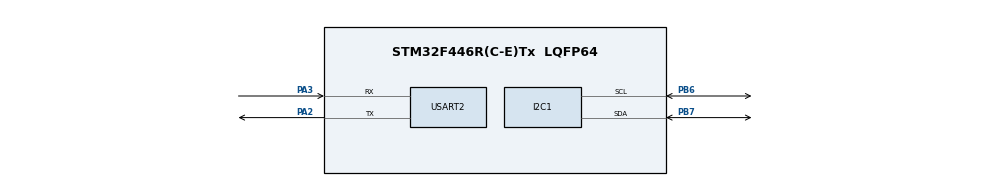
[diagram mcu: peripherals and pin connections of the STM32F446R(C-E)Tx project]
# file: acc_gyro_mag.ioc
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I2C1.I2C_Mode=I2C_Fast
Mcu.Family=STM32F4
Mcu.Name=STM32F446R(C-E)Tx
Mcu.Package=LQFP64
NVIC.PriorityGroup=NVIC_PRIORITYGROUP_4
PA13.Mode=Serial_Wire
PA13.Signal=SYS_JTMS-SWDIO
PA14.Mode=Serial_Wire
PA14.Signal=SYS_JTCK-SWCLK
PA2.Mode=Asynchronous
PA2.Signal=USART2_TX
PA3.Mode=Asynchronous
PA3.Signal=USART2_RX
PB6.Mode=I2C
PB6.Signal=I2C1_SCL
PB7.Mode=I2C
PB7.Signal=I2C1_SDA
ProjectManager.HeapSize=0x200
ProjectManager.StackSize=0x400
ProjectManager.TargetToolchain=STM32CubeIDE
RCC.CortexFreq_Value=16000000
RCC.USBFreq_Value=96000000
RCC.VCOOutputFreq_Value=192000000
USART2.VirtualMode=VM_ASYNC
board=custom

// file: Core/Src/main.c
/* USER CODE BEGIN Header */
/**
 ******************************************************************************
 * @file           : main.c
 * @brief          : Main program body
 ******************************************************************************
 * @attention
 *
 * Copyright (c) 2025 STMicroelectronics.
 * All rights reserved.
 *
 * This software is licensed under terms that can be found in the LICENSE file
 * in the root directory of this software component.
 * If no LICENSE file comes with this software, it is provided AS-IS.
 *
 ******************************************************************************
 */
/* USER CODE END Header */
#include "main.h"

/* USER CODE BEGIN Includes */
#include "math.h"
#include "stdio.h"
/* USER CODE END Includes */

/* USER CODE BEGIN PD */
#define MPU9250_ADDR 0x68 << 1  //acc gyro addr
#define MAG_ADDR 0x0C <<1 //Magnetometer I2C address
#define CONFIG_REG 0x1A
#define ACC_CTRL_REG 0x1C
#define GYRO_CTRL_REG 0x1B
#define ACC_CTRL_REG2 0x1D
#define INT_PIN_CFG 0x37
#define USER_CTRL 0x6A
#define AK8963_ADDR 0x0C << 1
#define AK8963_CNTL1 0x0A

// MPU9250 registers
#define MPU9250_WHO_AM_I 0x75
#define MPU9250_PWR_MGMT_1 0x6B
#define MPU9250_ACCEL_XOUT_H 0x3B
#define MPU9250_GYRO_XOUT_H 0x43
#define MPU9250_MAG_XOUT_L 0x03

#define NUM_SAMPLES 2000
#define GYRO_NUM_SAMPLES 2000
#define MAG_NUM_SAMPLES 1000
#define GYRO_SENSITIVITY 65.5f //for +/- 500dps setting
#define ACCEL_SENSITIVITY 4096.0f // For ±8g setting
#define DT 0.004 //4ms update period for gyro integration
/* USER CODE END PD */

I2C_HandleTypeDef hi2c1;

UART_HandleTypeDef huart2;

/* USER CODE BEGIN PV */
float accx_offset, accy_offset, accz_offset;
float gyrox_offset, gyroy_offset, gyroz_offset;
float magx_offset, magy_offset, magz_offset;
float rad_to_deg = (180/(22/7));
float pitch = 0, roll = 0, yaw = 0;
float gyrPitch=0, gyrRoll=0, gyrYaw=0;
float Mx, My; //variables for magneto-meter readings corrected for tilt
float Kalman1DOutput[] = {0,0};
float KalmanAngleRoll = 0, KalmanAnglePitch = 0, KalmanAngleYaw = 0;
float KalmanUncertaintyRoll = 0, KalmanUncertaintyPitch = 0, KalmanUncertaintyYaw = 0;

/* USER CODE END PV */

void SystemClock_Config(void);
static void MX_GPIO_Init(void);
static void MX_I2C1_Init(void);
static void MX_USART2_UART_Init(void);
/* USER CODE BEGIN PFP */
void MPU9250_Init(void);
void MPU9250_Read_Accel(int16_t *accelData);
void MPU9250_Read_Gyro(int16_t *gyroData);
void MPU9250_Read_Mag(int16_t *magData);
void I2C_Read(uint8_t addr, uint8_t reg, uint8_t *data, uint16_t size);
void I2C_Write(uint8_t addr, uint8_t reg, uint8_t *data, uint16_t size);
void MPU9250_Calibrate_acc();
void processSensorData(int16_t accRaw[3], int16_t gyroRaw[3]);
void MPU9250_Calibrate_gyro(float* gyroOffsetX, float* gyroOffsetY, float* gyroOffsetZ);
void MPU9250_Calibrate_mag(float * magOffsetX, float *magOffsetY, float *magOffsetZ);
float convertGyro(int16_t raw);
float convertAccel(int16_t raw);
void kalman_1d(float KalmanState, float KalmanUncertainty, float RotationRate, float Accel);
/* USER CODE END PFP */

int main(void)
{

	/* MCU Configuration--------------------------------------------------------*/

	/* Reset of all peripherals, Initializes the Flash interface and the Systick. */
	HAL_Init();

	/* Configure the system clock */
	SystemClock_Config();

	/* Initialize all configured peripherals */
	MX_GPIO_Init();
	MX_I2C1_Init();
	MX_USART2_UART_Init();
	/* USER CODE BEGIN 2 */
	uint8_t data = 0x00;
	I2C_Write(MPU9250_ADDR, MPU9250_PWR_MGMT_1, &data, 1);
	MPU9250_Init();
	MPU9250_Calibrate_acc();
	MPU9250_Calibrate_gyro(&gyrox_offset, &gyroy_offset, &gyroz_offset);
	MPU9250_Calibrate_mag(&magx_offset, &magy_offset, &magz_offset);

	int16_t accelData[3], gyroData[3], magData[3];
	float accgX, accgY, accgZ, gyroX, gyroY, gyroZ, magX, magY, magZ;
	/* USER CODE END 2 */

	/* Infinite loop */
	/* USER CODE BEGIN WHILE */
	while (1)
	{

		MPU9250_Read_Accel(accelData);
		MPU9250_Read_Gyro(gyroData);
		MPU9250_Read_Mag(magData);
		//processSensorData(accelData, gyroData);
		//MPU9250_Read_Mag(magData);
		accgX = (float)(((accelData[0]/4096.0f) - accx_offset) * 9.80665);
		accgY = (float)(((accelData[1]/4096.0f) - accy_offset) * 9.80665);
		accgZ = (float)(((accelData[2]/4096.0f) - accz_offset) * 9.80665);

		gyroX = (float)((gyroData[0]/GYRO_SENSITIVITY)-gyrox_offset);
		gyroY = (float)((gyroData[1]/GYRO_SENSITIVITY)-gyroy_offset);
		gyroZ = (float)((gyroData[2]/GYRO_SENSITIVITY)-gyroz_offset);

		magX = ((float)magData[0] - magx_offset) * 1.0f * 0.15f;// 0.15 µT per LSB for 16-bit mode
		magY = ((float)magData[1] - magy_offset) * 1.0f * 0.15f;
		magZ = ((float)magData[2] - magz_offset) * 1.0f * 0.15f;

		//printf("Ax: %f m/ss Ay: %f m/ss, Az: %f m/ss \n", accgX, accgY, accgZ);
		//printf("Gx: %f dps Gy: %f dps Gz: %f dps \n", gyroX, gyroY, gyroZ);
		//roll = atan2(accgY, accgZ) * rad_to_deg;
		roll = atan2(accgY, sqrt(accgX*accgX + accgZ*accgZ)) * rad_to_deg;
		pitch = atan2(-accgX, sqrt(accgY*accgY + accgZ*accgZ)) * rad_to_deg;
		Mx = magX*cos(pitch) + magZ*sin(pitch);
		My = magX*sin(roll)*sin(pitch) + magY*cos(roll) - magZ*sin(roll)*cos(pitch);
		yaw = atan2(-My, Mx) * rad_to_deg;//calculate yaw angle with tilt compensation
		if(yaw < 0)
			yaw += 360;//ensure readings are between 0 and 360 degrees

		kalman_1d(KalmanAngleRoll, KalmanUncertaintyRoll, gyroX, roll);
		KalmanAngleRoll = Kalman1DOutput[0];
		KalmanUncertaintyRoll = Kalman1DOutput[1];

		kalman_1d(KalmanAnglePitch, KalmanUncertaintyPitch, gyroY, pitch);
		KalmanAnglePitch = Kalman1DOutput[0];
		KalmanUncertaintyPitch = Kalman1DOutput[1];

		kalman_1d(KalmanAngleYaw, KalmanUncertaintyYaw, gyroZ, yaw);
		KalmanAngleYaw = Kalman1DOutput[0];
		KalmanUncertaintyYaw = Kalman1DOutput[1];

		printf("Kalman -> KRoll: %f deg Kpitch: %f deg Kyaw: %f deg\n", KalmanAngleRoll, KalmanAnglePitch, KalmanAngleYaw);
		/*gyrPitch += (gyroY * DT);
		gyrRoll += (gyroX * DT);
		gyrYaw += (gyroZ * DT);
		printf("Acc -> AccRoll: %f deg  AccPitch: %f deg AccYaw: %f deg \n", roll, pitch, yaw);
		printf("Gyro -> GRoll: %f deg  GPitch: %f deg GYaw: %f deg \n", gyrRoll, gyrPitch, gyrYaw);
		//printf("Mag -> X: %f uT Y: %f uT Z: %f uT \n", magX, magY, magZ);*/
		HAL_Delay(4); //4ms loop
		/*printf("Ax: %f Ay: %f, Az: %f | Gx: %f Gy: %f Gz: %f\n",
			  accelData[0], accelData[1], accelData[3], gyroData[0], gyroData[1], gyroData[2]);

	  printf("Mx: %f My: %f Mz: %f\n", magData[0], magData[1], magData[2]);
	  HAL_Delay(1000);*/
		/* USER CODE END WHILE */

	}
}

void SystemClock_Config(void)
{
	RCC_OscInitTypeDef RCC_OscInitStruct = {0};
	RCC_ClkInitTypeDef RCC_ClkInitStruct = {0};

	/** Configure the main internal regulator output voltage
	 */
	__HAL_RCC_PWR_CLK_ENABLE();
	__HAL_PWR_VOLTAGESCALING_CONFIG(PWR_REGULATOR_VOLTAGE_SCALE3);

	/** Initializes the RCC Oscillators according to the specified parameters
	 * in the RCC_OscInitTypeDef structure.
	 */
	RCC_OscInitStruct.OscillatorType = RCC_OSCILLATORTYPE_HSI;
	RCC_OscInitStruct.HSIState = RCC_HSI_ON;
	RCC_OscInitStruct.HSICalibrationValue = RCC_HSICALIBRATION_DEFAULT;
	RCC_OscInitStruct.PLL.PLLState = RCC_PLL_NONE;
	if (HAL_RCC_OscConfig(&RCC_OscInitStruct) != HAL_OK)
	{
		Error_Handler();
	}

	/** Initializes the CPU, AHB and APB buses clocks
	 */
	RCC_ClkInitStruct.ClockType = RCC_CLOCKTYPE_HCLK|RCC_CLOCKTYPE_SYSCLK
			|RCC_CLOCKTYPE_PCLK1|RCC_CLOCKTYPE_PCLK2;
	RCC_ClkInitStruct.SYSCLKSource = RCC_SYSCLKSOURCE_HSI;
	RCC_ClkInitStruct.AHBCLKDivider = RCC_SYSCLK_DIV1;
	RCC_ClkInitStruct.APB1CLKDivider = RCC_HCLK_DIV1;
	RCC_ClkInitStruct.APB2CLKDivider = RCC_HCLK_DIV1;

	if (HAL_RCC_ClockConfig(&RCC_ClkInitStruct, FLASH_LATENCY_0) != HAL_OK)
	{
		Error_Handler();
	}
}

static void MX_I2C1_Init(void)
{

	hi2c1.Instance = I2C1;
	hi2c1.Init.ClockSpeed = 400000;
	hi2c1.Init.DutyCycle = I2C_DUTYCYCLE_2;
	hi2c1.Init.OwnAddress1 = 0;
	hi2c1.Init.AddressingMode = I2C_ADDRESSINGMODE_7BIT;
	hi2c1.Init.DualAddressMode = I2C_DUALADDRESS_DISABLE;
	hi2c1.Init.OwnAddress2 = 0;
	hi2c1.Init.GeneralCallMode = I2C_GENERALCALL_DISABLE;
	hi2c1.Init.NoStretchMode = I2C_NOSTRETCH_DISABLE;
	if (HAL_I2C_Init(&hi2c1) != HAL_OK)
	{
		Error_Handler();
	}

}

static void MX_USART2_UART_Init(void)
{

	huart2.Instance = USART2;
	huart2.Init.BaudRate = 115200;
	huart2.Init.WordLength = UART_WORDLENGTH_8B;
	huart2.Init.StopBits = UART_STOPBITS_1;
	huart2.Init.Parity = UART_PARITY_NONE;
	huart2.Init.Mode = UART_MODE_TX_RX;
	huart2.Init.HwFlowCtl = UART_HWCONTROL_NONE;
	huart2.Init.OverSampling = UART_OVERSAMPLING_16;
	if (HAL_UART_Init(&huart2) != HAL_OK)
	{
		Error_Handler();
	}

}

static void MX_GPIO_Init(void)
{

	/* GPIO Ports Clock Enable */
	__HAL_RCC_GPIOA_CLK_ENABLE();
	__HAL_RCC_GPIOB_CLK_ENABLE();

}

/* USER CODE BEGIN 4 */
void MPU9250_Init(void) {
	uint8_t check, data;
	I2C_Read(MPU9250_ADDR, MPU9250_WHO_AM_I, &check, 1);
	if (check == 0x71) {
		printf("MPU found\n");
		data = 0x00;
		I2C_Write(MPU9250_ADDR, MPU9250_PWR_MGMT_1, &data, 1);
	}
	else{
		printf("No device found\n");
	}

	data = 0x10;
	I2C_Write(MPU9250_ADDR, ACC_CTRL_REG, &data, 1); //set 8g full scale for accelerometer
	data = 0x08;
	I2C_Write(MPU9250_ADDR, GYRO_CTRL_REG, &data, 1); //set 500dps full scale for gyro
	data = 0x05;
	I2C_Write(MPU9250_ADDR, ACC_CTRL_REG2, &data, 1); //set 10Hz (former 5) low pass filter for accel
	data = 0x05;
	I2C_Write(MPU9250_ADDR, CONFIG_REG, &data, 1); //set 10Hz low pass filter for gyro
	data = 0x00;
	I2C_Write(MPU9250_ADDR, USER_CTRL, &data, 1); // Disable I2C master mode to allow bypass
	data = 0x02;
	I2C_Write(MPU9250_ADDR, INT_PIN_CFG, &data, 1); //enable bypass to acces magnetometer
	data = 0x16;
	data = 0x01;
	I2C_Write(AK8963_ADDR, 0x0B, &data, 1); // Reset AK8963 (PWR_MGMT)
	HAL_Delay(100);  // Wait for reset
	data = 0x16;
	I2C_Write(AK8963_ADDR, AK8963_CNTL1, &data, 1); // Continuous mode 2 (100Hz, 16-bit output)
	I2C_Read(AK8963_ADDR, AK8963_CNTL1, &check, 1);
	printf("CNTL1 Register: 0x%02X\n", check);
	check = 0;
	data = 0;
	I2C_Read(AK8963_ADDR, 0x00, &check, 1);//read WIA register, should return 0x48
	if(check == 0x48)
		printf("Magnetometer found \n");
	else
		printf("No Magnetometer found. WIA: %d \n", check);
}

void MPU9250_Calibrate_acc()
{
	int16_t accelData[3];

	for(int i=0; i<NUM_SAMPLES; i++)
	{
		MPU9250_Read_Accel(accelData);
		accx_offset += (float)(accelData[0]/4096.0f);
		accy_offset += (float)(accelData[1]/4096.0f);
		accz_offset += (float)(accelData[2]/4096.0f);
		//HAL_Delay(10);

	}

	accx_offset /= NUM_SAMPLES;
	accy_offset /= NUM_SAMPLES;
	accz_offset = (accz_offset/NUM_SAMPLES) - 1.0f;

	printf("Accel Calibration Done. Offsets are: X: %f, Y: %f, Z: %f\n", accx_offset, accy_offset, accz_offset);
}

void MPU9250_Calibrate_gyro(float* gyroOffsetX, float* gyroOffsetY, float* gyroOffsetZ)
{
	int32_t sumX=0, sumY=0, sumZ=0;
	int16_t gyroData[3];

	for(int i=0; i<GYRO_NUM_SAMPLES; i++)
	{
		MPU9250_Read_Gyro(gyroData);
		/*sumX += gyroData[0];
		sumY += gyroData[1];
		sumZ += gyroData[2];*/
		*gyroOffsetX += (float)(gyroData[0]/GYRO_SENSITIVITY);
		*gyroOffsetY += (float)(gyroData[1]/GYRO_SENSITIVITY);
		*gyroOffsetZ += (float)(gyroData[2]/GYRO_SENSITIVITY);
	}

	*gyroOffsetX /= GYRO_NUM_SAMPLES;
	*gyroOffsetY /= GYRO_NUM_SAMPLES;
	*gyroOffsetZ /= GYRO_NUM_SAMPLES;

	printf("Gyro calibration Done. Offsets dps -> Gx: %f Gy: %f Gz: %f \n",
			*gyroOffsetX, *gyroOffsetY, *gyroOffsetZ);
}

void MPU9250_Calibrate_mag(float * magOffsetX, float *magOffsetY, float *magOffsetZ)
{
	int16_t magdata[3];
	int16_t magX_min = 32767, magX_max = -32768;
	int16_t magY_min = 32767, magY_max = -32768;
	int16_t magZ_min = 32767, magZ_max = -32768;

	printf("Rotate the sensor in all directions for calibration ...\n");

	for(int i=0; i<MAG_NUM_SAMPLES; i++)
	{
		MPU9250_Read_Mag(magdata);

		if(magdata[0] < magX_min) magX_min = magdata[0];
		if(magdata[0] > magX_max) magX_max = magdata[0];

		if(magdata[1] < magY_min) magY_min = magdata[1];
		if(magdata[1] > magY_max) magY_max = magdata[1];

		if(magdata[2] < magZ_min) magZ_min = magdata[2];
		if(magdata[2] > magZ_max) magZ_max = magdata[2];

		HAL_Delay(10);
	}

	//Offsets for hard iron correction
	*magOffsetX = ((int32_t)magX_max + (int32_t)magX_min)/2.0;//prromote to 32 bit
	*magOffsetY = ((int32_t)magY_max + (int32_t)magY_min)/2.0;//to prevent overflow
	*magOffsetZ = ((int32_t)magZ_max + (int32_t)magZ_min)/2.0;

	printf("Mag calibration done. Offsets -> Mx: %f My: %f Mz: %f \n",
			*magOffsetX, *magOffsetY, *magOffsetZ);
}

void MPU9250_Read_Accel(int16_t *accelData) {
	uint8_t rawData[6];
	I2C_Read(MPU9250_ADDR, MPU9250_ACCEL_XOUT_H, rawData, 6);
	accelData[0] = (int16_t)((rawData[0] << 8) | rawData[1]);
	accelData[1] = (int16_t)((rawData[2] << 8) | rawData[3]);
	accelData[2] = (int16_t)((rawData[4] << 8) | rawData[5]);
}

void MPU9250_Read_Gyro(int16_t *gyroData) {
	uint8_t rawData[6];
	I2C_Read(MPU9250_ADDR, MPU9250_GYRO_XOUT_H, rawData, 6);
	gyroData[0] = (int16_t)((rawData[0] << 8) | rawData[1]);
	gyroData[1] = (int16_t)((rawData[2] << 8) | rawData[3]);
	gyroData[2] = (int16_t)((rawData[4] << 8) | rawData[5]);
}

void MPU9250_Read_Mag(int16_t *magData) {
	uint8_t rawData[6];
	uint8_t status;
	uint8_t overflowCheck;

	I2C_Read(AK8963_ADDR, 0x02, &status, 1); // Read ST1 (Data Ready Status)
	if (!(status & 0x01)) {
		printf("No new magnetometer data available\n");
		return;  // Exit if no new data
	}
	I2C_Read(AK8963_ADDR, 0x03, rawData, 6);//read raw data from x low register
	magData[0] = (int16_t)((rawData[1] << 8) | rawData[0]); //mag x
	magData[1] = (int16_t)((rawData[3] << 8) | rawData[2]); //mag y
	magData[2] = (int16_t)((rawData[5] << 8) | rawData[4]); //mag z

	I2C_Read(AK8963_ADDR, 0x09, &overflowCheck, 1);
	if (overflowCheck & 0x08) {
		printf("Magnetometer overflow detected\n");
		return;  // Data is invalid, so discard it
	}
}

void I2C_Read(uint8_t addr, uint8_t reg, uint8_t *data, uint16_t size) {
	HAL_I2C_Mem_Read(&hi2c1, addr, reg, I2C_MEMADD_SIZE_8BIT, data, size, 1000);
}

void I2C_Write(uint8_t addr, uint8_t reg, uint8_t *data, uint16_t size) {
	HAL_I2C_Mem_Write(&hi2c1, addr, reg, I2C_MEMADD_SIZE_8BIT, data, size, 1000);
}

float convertAccel(int16_t raw) {
	return (float) ((raw / ACCEL_SENSITIVITY) * 9.80665);
}

float convertGyro(int16_t raw)
{
	return (float)raw/GYRO_SENSITIVITY;
}

void processSensorData(int16_t accRaw[3], int16_t gyroRaw[3])
{
	float accel[3], gyro[3];

	//Convert accel into m/s^2
	for(int i=0; i<3; i++)
		accel[i] = convertAccel(accRaw[i]);

	for(int i=0; i<3; i++)
		gyro[i] = convertGyro(gyroRaw[i]);

	printf("Accel -> X: %f m/ss Y: %f m/ss Z: %f m/ss\n", accel[0], accel[1], accel[2]);
	printf("Gyro -> X: %f dps Y: %f dps Z: %f dps\n", gyro[0], gyro[1], gyro[2]);
}

void kalman_1d(float KalmanState, float KalmanUncertainty, float RotationRate, float Accel)
{
	KalmanState = KalmanState + 0.004*RotationRate;
	KalmanUncertainty = KalmanUncertainty + 0.004*0.004*4*4;
	float KalmanGain = KalmanUncertainty * 1/(1*KalmanUncertainty+ 3*3);
	KalmanState = KalmanState + KalmanGain * (Accel - KalmanState); //update
	KalmanUncertainty = (1 - KalmanGain) * KalmanUncertainty;

	Kalman1DOutput[0] = KalmanState;
	Kalman1DOutput[1] = KalmanUncertainty;
}

int _write(int file, char *ptr, int len)
{
	(void)file;
	int DataIdx;

	for (DataIdx = 0; DataIdx < len; DataIdx++)
	{
		ITM_SendChar(*ptr++);
	}
	return len;
}
/* USER CODE END 4 */

void Error_Handler(void)
{
	__disable_irq();
	while (1)
	{
	}
}
